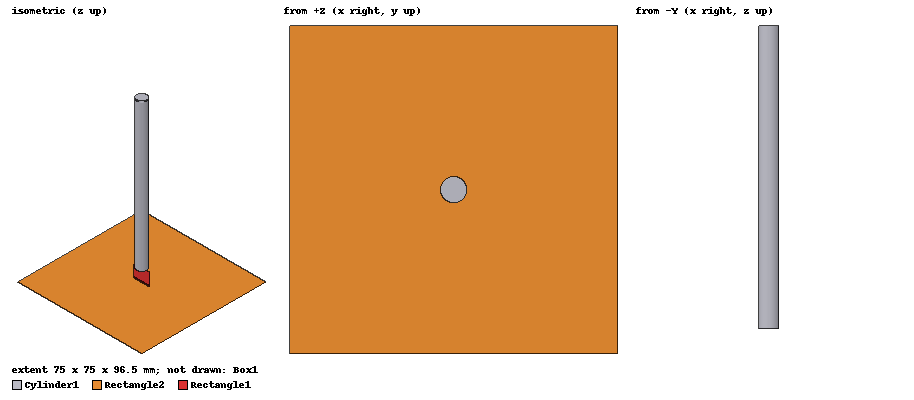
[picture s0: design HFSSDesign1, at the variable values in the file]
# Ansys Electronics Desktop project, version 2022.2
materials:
  vacuum: permittivity=1
  pec: conductivity=1e+30
  air: permittivity=1.0006 permeability=1.0000004

design HFSSDesign1 (HFSS, DrivenModal, model units mm)
options: Save_Adaptive_support_files
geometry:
  Cylinder1 [pec] = cylinder(axis=Z, base_centre=(0mm, 0mm, 7.5mm), radius=3mm, height=89mm)
  Rectangle1 = rectangle(corner=(0mm, -5mm, 0mm), y_size=10mm, z_size=7.5mm)
  Rectangle2 = rectangle(corner=((-75/2) mm, (-75/2) mm, 0mm), x_size=75mm, y_size=75mm)
  Box1 [air] = box(corner=((-75/2) mm, (-75/2) mm, -20mm), size=(75mm, 75mm, 150mm))
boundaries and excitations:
  PerfE1: Perfect E Objects=Rectangle2
  Rad1: Radiation Objects=Box1
  1: Lumped Port Objects=Rectangle1 Modes{Mode1{IntLine{(0, 0, 0) -> (0, 0, 7.5)} CharImp=Zpi RenormImp=73ohm}} Impedance=50ohm
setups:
  Setup1: HfssDriven Frequency=800MHz MaxDeltaS=0.02 MaximumPasses=6 MinimumPasses=1 MinimumConvergedPasses=1 PercentRefinement=30 BasisOrder=1 PortAccuracy=2 DrivenSolverType="Direct Solver"
    sweep Sweep: 600MHz to 1000MHz, 401 points; Type=Fast SaveFields
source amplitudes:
  1:1: 1W 0deg
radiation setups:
  Infinite Sphere1: Infinite Sphere Theta=0deg..180deg step 2deg Phi=-180deg..180deg step 2deg
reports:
  S Parameter Plot 1: dB(S(1,1)) vs Freq on Setup1 : Sweep; markers m1 at 0.8GHz, MY1 at y=-10.0319
  S Parameter Plot 2: dB(S(1,1)) vs Freq on Setup1 : Sweep
  Gain Plot 1: dB(GainTotal) vs Phi, Theta on Setup1 : LastAdaptive, Infinite Sphere1 [Freq=0.8GHz]
  Gain Plot 2: dB(GainTotal) vs Theta on Setup1 : LastAdaptive, Infinite Sphere1 [Phi=all Freq=0.8GHz]
  S Parameter Plot 3: dB(S(1,1)) vs Freq on Setup1 : Sweep
  S Parameter Plot 4: dB(S(1,1)) vs Freq on Setup1 : Sweep
